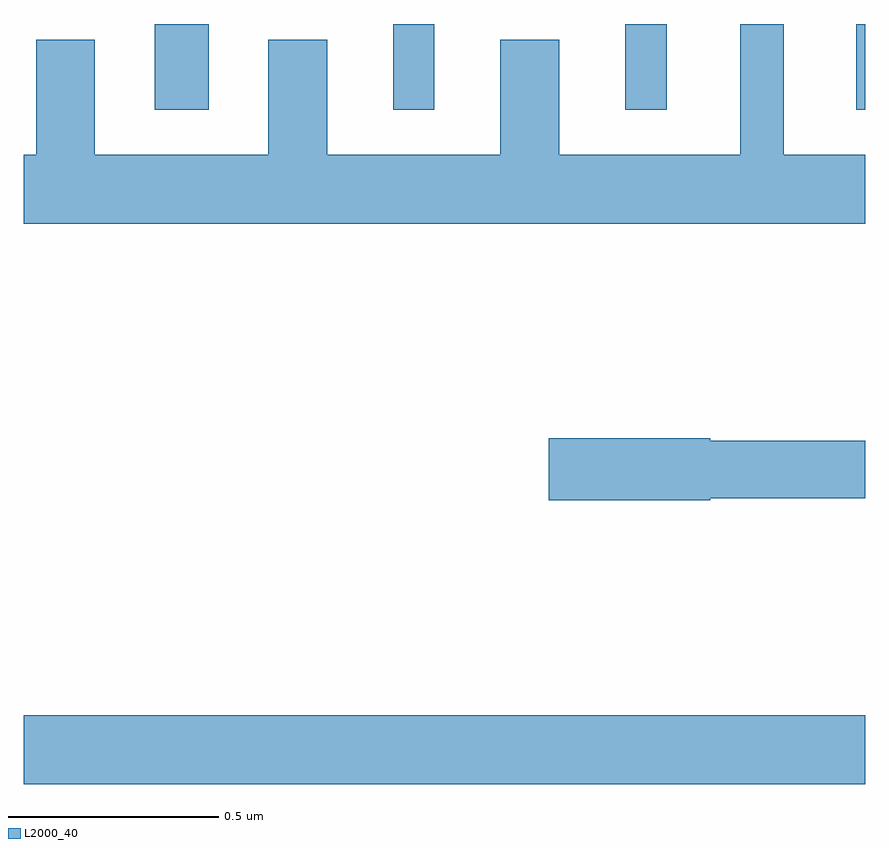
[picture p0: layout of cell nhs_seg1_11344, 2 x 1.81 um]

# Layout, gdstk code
import gdstk
lib = gdstk.Library(unit=1e-6, precision=1e-09)
def R(c, l, rs):  # rectangles x0, y0, x1, y1
    for r in rs: c.add(gdstk.rectangle(r[:2], r[2:], *l))
def P(c, l, *ps):  # polygons
    for p in ps: c.add(gdstk.Polygon(p, *l))
L2000_40 = (2000, 40)

nhs_seg1_11344 = lib.new_cell('nhs_seg1_11344')
R(nhs_seg1_11344, L2000_40, [(252,558.392,254,558.556), (252.311,559.995,252.439,560.199), (252.878,559.995,252.976,560.199), (253.43,559.995,253.528,560.199), (253.979,559.995,254,560.199)])
P(nhs_seg1_11344, L2000_40, [(254,559.888),(253.807,559.888),(253.807,560.199),(253.703,560.199),(253.703,559.888),(253.273,559.888),(253.273,560.161),(253.133,560.161),(253.133,559.888),(252.721,559.888),(252.721,560.161),(252.581,560.161),(252.581,559.888),(252.169,559.888),(252.169,560.161),(252.029,560.161),(252.029,559.888),(252,559.888),(252,559.724),(254,559.724)],
  [(253.632,559.072),(254,559.072),(254,559.208),(253.632,559.208),(253.632,559.214),(253.248,559.214),(253.248,559.067),(253.632,559.067)])

lib.write_gds('nhs_seg1_11344.gds')
